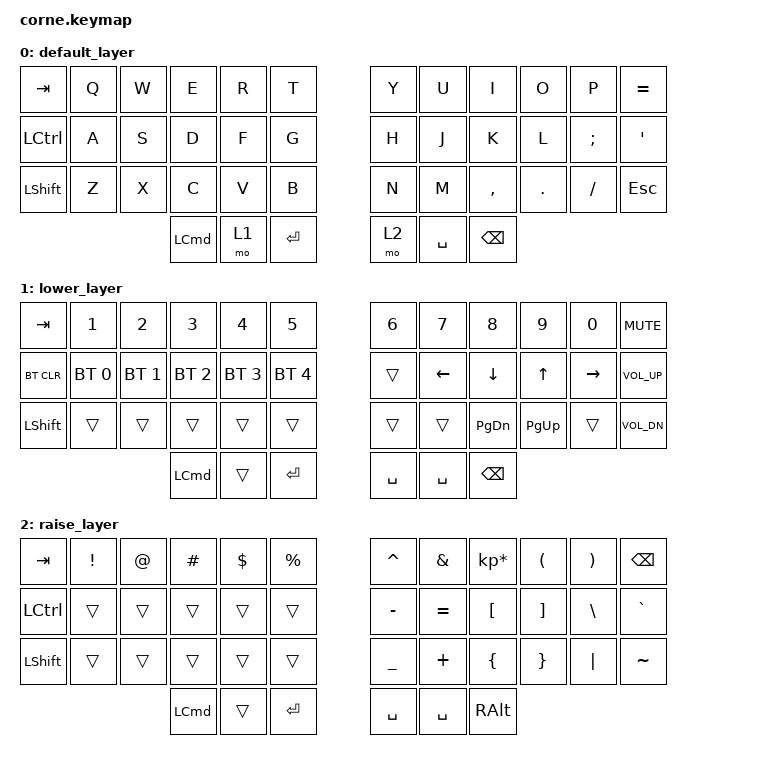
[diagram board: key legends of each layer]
/*
 * Copyright (c) 2020 The ZMK Contributors
 *
 * SPDX-License-Identifier: MIT
 */

#include <behaviors.dtsi>
#include <dt-bindings/zmk/keys.h>
#include <dt-bindings/zmk/bt.h>

/ {
        keymap {
                compatible = "zmk,keymap";

                default_layer {
// -----------------------------------------------------------------------------------------
// |  TAB |  Q  |  W  |  E  |  R  |  T  |   |  Y  |  U   |  I  |  O  |  P  |  =   |
// | CTRL |  A  |  S  |  D  |  F  |  G  |   |  H  |  J   |  K  |  L  |  ;  |  '   |
// | SHFT |  Z  |  X  |  C  |  V  |  B  |   |  N  |  M   |  ,  |  .  |  /  | ESC  |
//                    | GUI | LWR | ENT |   | RSE | SPC  | BKSP|
                        bindings = <
   &kp TAB   &kp Q &kp W &kp E &kp R &kp T   &kp Y &kp U  &kp I     &kp O   &kp P    &kp EQUAL
   &kp LCTRL &kp A &kp S &kp D &kp F &kp G   &kp H &kp J  &kp K     &kp L   &kp SEMI &kp SQT
   &kp LSHFT &kp Z &kp X &kp C &kp V &kp B   &kp N &kp M  &kp COMMA &kp DOT &kp FSLH &kp ESC
                  &kp LCMD &mo 1 &kp RET   &mo 2 &kp SPACE &kp BSPC
                        >;
                };
                lower_layer {
// -----------------------------------------------------------------------------------------
// |  TAB |  1  |  2  |  3  |  4  |  5  |   |  6  |  7  |  8  |  9  |  0  | MUTE |
// | BTCLR| BT1 | BT2 | BT3 | BT4 | BT5 |   |     | LFT | DWN | UP  | RGT |VOL_UP|
// | SHFT |     |     |     |     |     |   |     |     |PG_DN|PG_UP|     |VOL_DN|
//                    | GUI |     | ENT |   | SPC | SPC | BKSP|
                        bindings = <
   &kp TAB    &kp N1       &kp N2       &kp N3       &kp N4       &kp N5         &kp N6   &kp N7   &kp N8 &kp N9    &kp N0 &kp C_MUTE
   &bt BT_CLR &bt BT_SEL 0 &bt BT_SEL 1 &bt BT_SEL 2 &bt BT_SEL 3 &bt BT_SEL 4   &trans &kp LEFT &kp DOWN &kp UP &kp RIGHT &kp C_VOL_UP
   &kp LSHFT  &trans       &trans       &trans       &trans       &trans         &trans   &trans   &kp PG_DN &kp PG_UP &trans  &kp C_VOL_DN
                          	        &kp LCMD     &trans       &kp RET      &kp SPACE  &kp SPACE   &kp BSPC
                        >;
                };

                raise_layer {
// -----------------------------------------------------------------------------------------
// |  TAB |  !  |  @  |  #  |  $  |  %  |   |  ^  |  &  |  *  |  (  |  )  | BKSP |
// | CTRL |     |     |     |     |     |   |  -  |  =  |  [  |  ]  |  \  |  `   |
// | SHFT |     |     |     |     |     |   |  _  |  +  |  {  |  }  | "|" |  ~   |
//                    | GUI |     | ENT |   | SPC | SPC | ALT |
                        bindings = <
   &kp  TAB  &kp EXCL &kp AT &kp HASH &kp DLLR &kp PRCNT   &kp CARET &kp AMPS  &kp KP_MULTIPLY &kp LPAR &kp RPAR &kp BSPC
   &kp LCTRL &trans   &trans &trans   &trans   &trans      &kp MINUS &kp EQUAL &kp LBKT        &kp RBKT &kp BSLH &kp GRAVE
   &kp LSHFT &trans   &trans &trans   &trans   &trans      &kp UNDER &kp PLUS  &kp LBRC        &kp RBRC &kp PIPE &kp TILDE
                    	     &kp LCMD &trans   &kp RET   &kp SPACE   &kp SPACE    &kp RALT
                        >;
                };
        };
};
